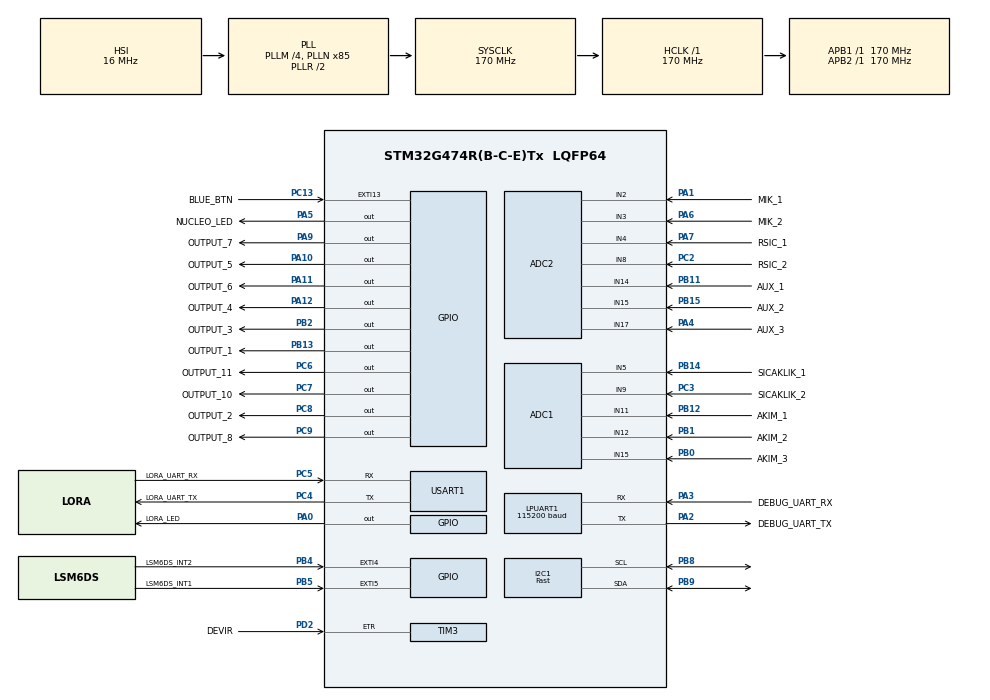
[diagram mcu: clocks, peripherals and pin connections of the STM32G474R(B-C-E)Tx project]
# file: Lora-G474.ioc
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ADC1.Channel-0\#ChannelRegularConversion=ADC_CHANNEL_5
ADC1.Channel-1\#ChannelRegularConversion=ADC_CHANNEL_9
ADC1.Channel-2\#ChannelRegularConversion=ADC_CHANNEL_11
ADC1.Channel-3\#ChannelRegularConversion=ADC_CHANNEL_12
ADC1.Channel-4\#ChannelRegularConversion=ADC_CHANNEL_15
ADC1.ClockPrescaler=ADC_CLOCK_SYNC_PCLK_DIV4
ADC1.DMAContinuousRequests=ENABLE
ADC1.DiscontinuousConvMode=ENABLE
ADC1.ExternalTrigConv=ADC_EXTERNALTRIG_T1_TRGO
ADC1.NbrOfConversion=5
ADC1.NbrOfConversionFlag=1
ADC1.NbrOfDiscConversion=3
ADC1.OffsetNumber-0\#ChannelRegularConversion=ADC_OFFSET_NONE
ADC1.OffsetNumber-1\#ChannelRegularConversion=ADC_OFFSET_NONE
ADC1.OffsetNumber-2\#ChannelRegularConversion=ADC_OFFSET_NONE
ADC1.OffsetNumber-3\#ChannelRegularConversion=ADC_OFFSET_NONE
ADC1.OffsetNumber-4\#ChannelRegularConversion=ADC_OFFSET_NONE
ADC1.OversamplingMode=ENABLE
ADC1.Rank-0\#ChannelRegularConversion=1
ADC1.Rank-1\#ChannelRegularConversion=2
ADC1.Rank-2\#ChannelRegularConversion=3
ADC1.Rank-3\#ChannelRegularConversion=4
ADC1.Rank-4\#ChannelRegularConversion=5
ADC1.Ratio=ADC_OVERSAMPLING_RATIO_8
ADC1.RightBitShift=ADC_RIGHTBITSHIFT_1
ADC1.SamplingTime-0\#ChannelRegularConversion=ADC_SAMPLETIME_47CYCLES_5
ADC1.SamplingTime-1\#ChannelRegularConversion=ADC_SAMPLETIME_47CYCLES_5
ADC1.SamplingTime-2\#ChannelRegularConversion=ADC_SAMPLETIME_47CYCLES_5
ADC1.SamplingTime-3\#ChannelRegularConversion=ADC_SAMPLETIME_47CYCLES_5
ADC1.SamplingTime-4\#ChannelRegularConversion=ADC_SAMPLETIME_47CYCLES_5
ADC1.master=1
ADC2.Channel-0\#ChannelRegularConversion=ADC_CHANNEL_2
ADC2.Channel-1\#ChannelRegularConversion=ADC_CHANNEL_3
ADC2.Channel-2\#ChannelRegularConversion=ADC_CHANNEL_4
ADC2.Channel-3\#ChannelRegularConversion=ADC_CHANNEL_8
ADC2.Channel-4\#ChannelRegularConversion=ADC_CHANNEL_14
ADC2.Channel-5\#ChannelRegularConversion=ADC_CHANNEL_15
ADC2.Channel-6\#ChannelRegularConversion=ADC_CHANNEL_17
ADC2.DMAContinuousRequests=ENABLE
ADC2.DiscontinuousConvMode=ENABLE
ADC2.ExternalTrigConv=ADC_EXTERNALTRIG_T2_TRGO
ADC2.NbrOfConversion=7
ADC2.NbrOfConversionFlag=1
ADC2.NbrOfDiscConversion=3
ADC2.OffsetNumber-0\#ChannelRegularConversion=ADC_OFFSET_NONE
ADC2.OffsetNumber-1\#ChannelRegularConversion=ADC_OFFSET_NONE
ADC2.OffsetNumber-2\#ChannelRegularConversion=ADC_OFFSET_NONE
ADC2.OffsetNumber-3\#ChannelRegularConversion=ADC_OFFSET_NONE
ADC2.OffsetNumber-4\#ChannelRegularConversion=ADC_OFFSET_NONE
ADC2.OffsetNumber-5\#ChannelRegularConversion=ADC_OFFSET_NONE
ADC2.OffsetNumber-6\#ChannelRegularConversion=ADC_OFFSET_NONE
ADC2.OversamplingMode=ENABLE
ADC2.Rank-0\#ChannelRegularConversion=1
ADC2.Rank-1\#ChannelRegularConversion=2
ADC2.Rank-2\#ChannelRegularConversion=3
ADC2.Rank-3\#ChannelRegularConversion=4
ADC2.Rank-4\#ChannelRegularConversion=5
ADC2.Rank-5\#ChannelRegularConversion=6
ADC2.Rank-6\#ChannelRegularConversion=7
ADC2.Ratio=ADC_OVERSAMPLING_RATIO_8
ADC2.RightBitShift=ADC_RIGHTBITSHIFT_1
ADC2.SamplingTime-0\#ChannelRegularConversion=ADC_SAMPLETIME_47CYCLES_5
ADC2.SamplingTime-1\#ChannelRegularConversion=ADC_SAMPLETIME_47CYCLES_5
ADC2.SamplingTime-2\#ChannelRegularConversion=ADC_SAMPLETIME_47CYCLES_5
ADC2.SamplingTime-3\#ChannelRegularConversion=ADC_SAMPLETIME_47CYCLES_5
ADC2.SamplingTime-4\#ChannelRegularConversion=ADC_SAMPLETIME_47CYCLES_5
ADC2.SamplingTime-5\#ChannelRegularConversion=ADC_SAMPLETIME_47CYCLES_5
ADC2.SamplingTime-6\#ChannelRegularConversion=ADC_SAMPLETIME_47CYCLES_5
Dma.ADC1.0.Direction=DMA_PERIPH_TO_MEMORY
Dma.ADC1.0.EventEnable=DISABLE
Dma.ADC1.0.Instance=DMA1_Channel1
Dma.ADC1.0.MemDataAlignment=DMA_MDATAALIGN_HALFWORD
Dma.ADC1.0.MemInc=DMA_MINC_ENABLE
Dma.ADC1.0.Mode=DMA_CIRCULAR
Dma.ADC1.0.PeriphDataAlignment=DMA_PDATAALIGN_HALFWORD
Dma.ADC1.0.PeriphInc=DMA_PINC_DISABLE
Dma.ADC1.0.Polarity=HAL_DMAMUX_REQ_GEN_RISING
Dma.ADC1.0.Priority=DMA_PRIORITY_LOW
Dma.ADC1.0.RequestNumber=1
Dma.ADC1.0.SignalID=NONE
Dma.ADC1.0.SyncEnable=DISABLE
Dma.ADC1.0.SyncPolarity=HAL_DMAMUX_SYNC_NO_EVENT
Dma.ADC1.0.SyncRequestNumber=1
Dma.ADC1.0.SyncSignalID=NONE
Dma.ADC2.1.Direction=DMA_PERIPH_TO_MEMORY
Dma.ADC2.1.EventEnable=DISABLE
Dma.ADC2.1.Instance=DMA1_Channel2
Dma.ADC2.1.MemDataAlignment=DMA_MDATAALIGN_HALFWORD
Dma.ADC2.1.MemInc=DMA_MINC_ENABLE
Dma.ADC2.1.Mode=DMA_CIRCULAR
Dma.ADC2.1.PeriphDataAlignment=DMA_PDATAALIGN_HALFWORD
Dma.ADC2.1.PeriphInc=DMA_PINC_DISABLE
Dma.ADC2.1.Polarity=HAL_DMAMUX_REQ_GEN_RISING
Dma.ADC2.1.Priority=DMA_PRIORITY_LOW
Dma.ADC2.1.RequestNumber=1
Dma.ADC2.1.SignalID=NONE
Dma.ADC2.1.SyncEnable=DISABLE
Dma.ADC2.1.SyncPolarity=HAL_DMAMUX_SYNC_NO_EVENT
Dma.ADC2.1.SyncRequestNumber=1
Dma.ADC2.1.SyncSignalID=NONE
Dma.Request0=ADC1
Dma.Request1=ADC2
I2C1.Analog_Filter=I2C_ANALOGFILTER_DISABLE
I2C1.I2C_Speed_Mode=I2C_Fast
I2C1.Timing=0x108031A0
LPUART1.BaudRate=115200
LPUART1.WordLength=UART_WORDLENGTH_8B
Mcu.Family=STM32G4
Mcu.Name=STM32G474R(B-C-E)Tx
Mcu.Package=LQFP64
NVIC.DMA1_Channel1_IRQn=true\:0\:0\:false\:false\:true\:false\:true
NVIC.DMA1_Channel2_IRQn=true\:0\:0\:false\:false\:true\:false\:true
NVIC.EXTI15_10_IRQn=true\:0\:0\:false\:false\:true\:true\:true
NVIC.EXTI4_IRQn=true\:0\:0\:false\:false\:true\:true\:true
NVIC.EXTI9_5_IRQn=true\:0\:0\:false\:false\:true\:true\:true
NVIC.I2C1_ER_IRQn=true\:0\:0\:false\:false\:true\:true\:true
NVIC.I2C1_EV_IRQn=true\:0\:0\:false\:false\:true\:true\:true
NVIC.PriorityGroup=NVIC_PRIORITYGROUP_4
NVIC.TIM1_CC_IRQn=true\:0\:0\:false\:false\:true\:true\:true
NVIC.TIM1_TRG_COM_TIM17_IRQn=true\:0\:0\:false\:false\:true\:true\:true
NVIC.TIM1_UP_TIM16_IRQn=true\:0\:0\:false\:false\:true\:true\:true
NVIC.TIM2_IRQn=true\:0\:0\:false\:false\:true\:true\:true
NVIC.TIM4_IRQn=true\:0\:0\:false\:false\:true\:true\:true
NVIC.TIM5_IRQn=true\:0\:0\:false\:false\:true\:true\:true
NVIC.TIM6_DAC_IRQn=true\:0\:0\:false\:false\:true\:true\:true
NVIC.TIM7_DAC_IRQn=true\:0\:0\:false\:false\:true\:true\:true
NVIC.USART1_IRQn=true\:0\:0\:false\:false\:true\:true\:true
PA0.GPIO_Label=LORA_LED
PA0.Signal=GPIO_Output
PA1.GPIO_Label=MIK_1
PA1.Mode=IN2-Single-Ended
PA1.Signal=ADC2_IN2
PA10.GPIO_Label=OUTPUT_5
PA10.Signal=GPIO_Output
PA11.GPIO_Label=OUTPUT_6
PA11.Signal=GPIO_Output
PA12.GPIO_Label=OUTPUT_4
PA12.Signal=GPIO_Output
PA13.GPIO_Label=T_SWDIO
PA13.Mode=Serial_Wire
PA13.Signal=SYS_JTMS-SWDIO
PA14.GPIO_Label=T_SWCLK
PA14.Mode=Serial_Wire
PA14.Signal=SYS_JTCK-SWCLK
PA2.GPIO_Label=DEBUG_UART_TX
PA2.Mode=Asynchronous
PA2.Signal=LPUART1_TX
PA3.GPIO_Label=DEBUG_UART_RX
PA3.Mode=Asynchronous
PA3.Signal=LPUART1_RX
PA4.GPIO_Label=AUX_3
PA4.Mode=IN17-Single-Ended
PA4.Signal=ADC2_IN17
PA5.GPIO_Label=NUCLEO_LED
PA5.Signal=GPIO_Output
PA6.GPIO_Label=MIK_2
PA6.Mode=IN3-Single-Ended
PA6.Signal=ADC2_IN3
PA7.GPIO_Label=RSIC_1
PA7.Mode=IN4-Single-Ended
PA7.Signal=ADC2_IN4
PA9.GPIO_Label=OUTPUT_7
PA9.Signal=GPIO_Output
PB0.GPIO_Label=AKIM_3
PB0.Mode=IN15-Single-Ended
PB0.Signal=ADC1_IN15
PB1.GPIO_Label=AKIM_2
PB1.Mode=IN12-Single-Ended
PB1.Signal=ADC1_IN12
PB11.GPIO_Label=AUX_1
PB11.Mode=IN14-Single-Ended
PB11.Signal=ADC2_IN14
PB12.GPIO_Label=AKIM_1
PB12.Mode=IN11-Single-Ended
PB12.Signal=ADC1_IN11
PB13.GPIO_Label=OUTPUT_1
PB13.Signal=GPIO_Output
PB14.GPIO_Label=SICAKLIK_1
PB14.Mode=IN5-Single-Ended
PB14.Signal=ADC1_IN5
PB15.GPIO_Label=AUX_2
PB15.Mode=IN15-Single-Ended
PB15.Signal=ADC2_IN15
PB2.GPIO_Label=OUTPUT_3
PB2.Signal=GPIO_Output
PB3.GPIO_Label=T_SWO
PB3.Signal=SYS_JTDO-SWO
PB4.GPIO_Label=LSM6DS_INT2
PB4.Signal=GPXTI4
PB5.GPIO_Label=LSM6DS_INT1
PB5.Signal=GPXTI5
PB8-BOOT0.GPIO_FM8=SYSCFG_FASTMODEPLUS_PB8
PB8-BOOT0.Mode=I2C
PB8-BOOT0.Signal=I2C1_SCL
PB9.GPIO_FM9=SYSCFG_FASTMODEPLUS_PB9
PB9.Mode=I2C
PB9.Signal=I2C1_SDA
PC13.GPIO_Label=BLUE_BTN
PC13.Signal=GPXTI13
PC14-OSC32_IN.Mode=LSE-External-Oscillator
PC14-OSC32_IN.Signal=RCC_OSC32_IN
PC15-OSC32_OUT.Mode=LSE-External-Oscillator
PC15-OSC32_OUT.Signal=RCC_OSC32_OUT
PC2.GPIO_Label=RSIC_2
PC2.Mode=IN8-Single-Ended
PC2.Signal=ADC2_IN8
PC3.GPIO_Label=SICAKLIK_2
PC3.Mode=IN9-Single-Ended
PC3.Signal=ADC1_IN9
PC4.GPIO_Label=LORA_UART_TX
PC4.Mode=Asynchronous
PC4.Signal=USART1_TX
PC5.GPIO_Label=LORA_UART_RX
PC5.Mode=Asynchronous
PC5.Signal=USART1_RX
PC6.GPIO_Label=OUTPUT_11
PC6.Signal=GPIO_Output
PC7.GPIO_Label=OUTPUT_10
PC7.Signal=GPIO_Output
PC8.GPIO_Label=OUTPUT_2
PC8.Signal=GPIO_Output
PC9.GPIO_Label=OUTPUT_8
PC9.Signal=GPIO_Output
PD2.GPIO_Label=DEVIR
PD2.Signal=S_TIM3_ETR
PF0-OSC_IN.Mode=HSE-External-Oscillator
PF0-OSC_IN.Signal=RCC_OSC_IN
PF1-OSC_OUT.Mode=HSE-External-Oscillator
PF1-OSC_OUT.Signal=RCC_OSC_OUT
ProjectManager.HeapSize=0x200
ProjectManager.StackSize=0x400
ProjectManager.TargetToolchain=STM32CubeIDE
RCC.ADC12Freq_Value=170000000
RCC.ADC345Freq_Value=170000000
RCC.AHBFreq_Value=170000000
RCC.APB1Freq_Value=170000000
RCC.APB1TimFreq_Value=170000000
RCC.APB2Freq_Value=170000000
RCC.APB2TimFreq_Value=170000000
RCC.CortexFreq_Value=170000000
RCC.EXTERNAL_CLOCK_VALUE=12288000
RCC.HCLKFreq_Value=170000000
RCC.HSE_VALUE=24000000
RCC.HSI48_VALUE=48000000
RCC.HSI_VALUE=16000000
RCC.PLLM=RCC_PLLM_DIV4
RCC.PLLN=85
RCC.RTCClockSelection=RCC_RTCCLKSOURCE_LSE
RCC.SYSCLKFreq_VALUE=170000000
RCC.SYSCLKSource=RCC_SYSCLKSOURCE_PLLCLK
RCC.USBFreq_Value=170000000
RCC.VCOOutputFreq_Value=340000000
SH.S_TIM3_ETR.0=TIM3_ETR,ClockSourceETR_Mode2
TIM1.Channel-Output\ Compare1\ No\ Output=TIM_CHANNEL_1
TIM1.PeriodNoDither=14999
TIM1.Prescaler=33999
TIM1.TIM_MasterOutputTrigger=TIM_TRGO_UPDATE
TIM16.PeriodNoDither=24999
TIM16.Prescaler=33999
TIM17.PeriodNoDither=49999
TIM17.Prescaler=50999
TIM2.Channel-Output\ Compare1\ No\ Output=TIM_CHANNEL_1
TIM2.PeriodNoDither=14999
TIM2.Prescaler=33999
TIM2.TIM_MasterOutputTrigger=TIM_TRGO_UPDATE
TIM4.PeriodNoDither=4999
TIM4.Prescaler=33999
TIM6.PeriodNoDither=59999
TIM6.Prescaler=50999
TIM7.PeriodNoDither=4999
TIM7.Prescaler=33999
TIM7.TIM_MasterOutputTrigger=TIM_TRGO_UPDATE
USART1.VirtualMode-Asynchronous=VM_ASYNC
VP_SYS_VS_DBSignals.Mode=DisableDeadBatterySignals
VP_TIM16_VS_ClockSourceINT.Mode=Enable_Timer
VP_TIM17_VS_ClockSourceINT.Mode=Enable_Timer
VP_TIM1_VS_ClockSourceINT.Mode=Internal
VP_TIM1_VS_no_output1.Mode=Output Compare1 No Output
VP_TIM2_VS_ClockSourceINT.Mode=Internal
VP_TIM2_VS_no_output1.Mode=Output Compare1 No Output
VP_TIM4_VS_ClockSourceINT.Mode=Internal
VP_TIM5_VS_ClockSourceINT.Mode=Internal
VP_TIM6_VS_ClockSourceINT.Mode=Enable_Timer
VP_TIM7_VS_ClockSourceINT.Mode=Enable_Timer
board=NUCLEO-G474RE

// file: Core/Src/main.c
/* USER CODE BEGIN Header */
/**
  ******************************************************************************
  * @file           : main.c
  * @brief          : Main program body
  ******************************************************************************
  * @attention
  *
  * <h2><center>&copy; Copyright (c) 2020 STMicroelectronics.
  * All rights reserved.</center></h2>
  *
  * This software component is licensed by ST under BSD 3-Clause license,
  * the "License"; You may not use this file except in compliance with the
  * License. You may obtain a copy of the License at:
  *                        opensource.org/licenses/BSD-3-Clause
  *
  ******************************************************************************
  */
/* USER CODE END Header */
#include <accelerator.h>
#include "main.h"
#include "adc.h"
#include "dma.h"
#include "i2c.h"
#include "usart.h"
#include "tim.h"
#include "gpio.h"

/* USER CODE BEGIN Includes */
#include <stdio.h>
#include "retarget.h"
#include "MotionSP.h"
#include "lora_driver.h"
/* USER CODE END Includes */

/* USER CODE BEGIN PD */
#define LPP_DATATYPE_HUMIDITY 0x68
#define LPP_DATATYPE_TEMPERATURE 0x67
#define LPP_DATATYPE_BAROMETER 0x73
#define LPP_DATATYPE_ADC 0x74
#define LPP_DATATYPE_PULSE 0x75

#define ENABLE_LORA
//#define ENABLE_SENSOR

#ifdef ENABLE_LORA
#define LORAWAN_APP_PORT           99;            /*LoRaWAN application port*/
#define LORAWAN_CONFIRMED_MSG      ENABLE         /*LoRaWAN confirmed messages*/
#define JOIN_MODE                  OTAA_JOIN_MODE   /*ABP_JOIN_MODE */ /*LoRaWan join methode*/
#endif

#define PULSE_COUNTER_COUNT 		1
#define PULSE_COEF                  4
#define PULSE_MINUTE                60
/* USER CODE END PD */

/* USER CODE BEGIN PV */

uint16_t pulse[PULSE_COUNTER_COUNT];
uint16_t calibrated_pulse[PULSE_COUNTER_COUNT];

TIM_HandleTypeDef *hAccellCycleTimer; //200ms

TIM_HandleTypeDef *hPulseCycleTimer; //1s
TIM_HandleTypeDef *hPulseCounter[PULSE_COUNTER_COUNT];
TIM_HandleTypeDef *hCollectCycleTimer; //5s

#ifdef ENABLE_LORA
static LoRaDriverParam_t LoRaDriverParam = {0, JOIN_MODE};
#endif
/* USER CODE END PV */

void SystemClock_Config(void);
/* USER CODE BEGIN PFP */

#ifdef ENABLE_LORA
static void PrepareSensorData(sSendDataBinary_t *SendDataBinary);
static LoRaDriverCallback_t LoRaDriverCallbacks = { PrepareSensorData, NULL };
#endif
/* USER CODE END PFP */

/* USER CODE BEGIN 0 */
#define min(a,b) (a) < (b) ? (a) : (b)
#define max(a,b) (a) > (b) ? (a) : (b)
#define abs(a) ((a) > 0 ? (a) : -(a))
/* USER CODE END 0 */

int main(void)
{

  /* MCU Configuration--------------------------------------------------------*/

  /* Reset of all peripherals, Initializes the Flash interface and the Systick. */
  HAL_Init();

  /* Configure the system clock */
  SystemClock_Config();

  /* Initialize all configured peripherals */
  MX_GPIO_Init();
  MX_DMA_Init();
  MX_LPUART1_UART_Init();
  MX_ADC2_Init();
  MX_ADC1_Init();
  MX_TIM3_Init();
  MX_USART1_UART_Init();
  MX_I2C1_Init();
  MX_TIM1_Init();
  MX_TIM2_Init();
  MX_TIM4_Init();
  MX_TIM5_Init();
  MX_TIM6_Init();
  MX_TIM7_Init();
  MX_TIM16_Init();
  MX_TIM17_Init();
  /* USER CODE BEGIN 2 */

  RetargetInit(&hlpuart1);

  hmodem_uart = &huart1;

  hAccellCycleTimer = &htim4; //200ms
  hSendCycleTimer = &htim17; //15s
  hPulseCycleTimer = &htim7; //1s
  hPulseCounter[0] = &htim3;
  hCollectCycleTimer = &htim16; //5s
  hProtectCycleTimer = &htim6; //18s
  hADC1Timer = &htim1;
  hADC2Timer = &htim2;

  /* Context Initialization following the LoRa device modem Used*/
#ifdef ENABLE_LORA
  Lora_Ctx_Init(&LoRaDriverCallbacks, &LoRaDriverParam);
#endif

  BSP_PB_Init(BUTTON_USER, BUTTON_MODE_EXTI);

#ifdef ENABLE_SENSOR

  if (Init_Accelerator() != 0)
  {
	  printf("Can not init Accelerator! \r\n");

  } else {

	  printf("Accelerator is initialized! \r\n");
  }
#endif

  if (AnalogDevicesInit() != TRUE) {
	  printf("ADCs can not initialized! \r\n");

  } else {
	  printf("ADCs initialized! \r\n");
  }

  //TIMERS
  start_timer(hPulseCycleTimer);
  start_timer(hCollectCycleTimer);
  start_timer(hAccellCycleTimer);

  /* USER CODE END 2 */

  /* Infinite loop */
  /* USER CODE BEGIN WHILE */

  printf("Starting \r\n");

  while (1)
  {
    /* USER CODE END WHILE */

    /* USER CODE BEGIN 3 */

#ifdef ENABLE_LORA
    Lora_fsm();
#endif

#ifdef ENABLE_SENSOR
/* Data processing started */
    if (Collect_Accelerator_Data() != TRUE)
    {
    	printf("Can not process accelerator data! \r\n");
    }
#endif
  /* USER CODE END 3 */
  }
}

void SystemClock_Config(void)
{
  RCC_OscInitTypeDef RCC_OscInitStruct = {0};
  RCC_ClkInitTypeDef RCC_ClkInitStruct = {0};
  RCC_PeriphCLKInitTypeDef PeriphClkInit = {0};

  /** Configure the main internal regulator output voltage
  */
  HAL_PWREx_ControlVoltageScaling(PWR_REGULATOR_VOLTAGE_SCALE1_BOOST);
  /** Initializes the RCC Oscillators according to the specified parameters
  * in the RCC_OscInitTypeDef structure.
  */
  RCC_OscInitStruct.OscillatorType = RCC_OSCILLATORTYPE_HSI;
  RCC_OscInitStruct.HSIState = RCC_HSI_ON;
  RCC_OscInitStruct.HSICalibrationValue = RCC_HSICALIBRATION_DEFAULT;
  RCC_OscInitStruct.PLL.PLLState = RCC_PLL_ON;
  RCC_OscInitStruct.PLL.PLLSource = RCC_PLLSOURCE_HSI;
  RCC_OscInitStruct.PLL.PLLM = RCC_PLLM_DIV4;
  RCC_OscInitStruct.PLL.PLLN = 85;
  RCC_OscInitStruct.PLL.PLLP = RCC_PLLP_DIV2;
  RCC_OscInitStruct.PLL.PLLQ = RCC_PLLQ_DIV2;
  RCC_OscInitStruct.PLL.PLLR = RCC_PLLR_DIV2;
  if (HAL_RCC_OscConfig(&RCC_OscInitStruct) != HAL_OK)
  {
    Error_Handler();
  }
  /** Initializes the CPU, AHB and APB buses clocks
  */
  RCC_ClkInitStruct.ClockType = RCC_CLOCKTYPE_HCLK|RCC_CLOCKTYPE_SYSCLK
                              |RCC_CLOCKTYPE_PCLK1|RCC_CLOCKTYPE_PCLK2;
  RCC_ClkInitStruct.SYSCLKSource = RCC_SYSCLKSOURCE_PLLCLK;
  RCC_ClkInitStruct.AHBCLKDivider = RCC_SYSCLK_DIV1;
  RCC_ClkInitStruct.APB1CLKDivider = RCC_HCLK_DIV1;
  RCC_ClkInitStruct.APB2CLKDivider = RCC_HCLK_DIV1;

  if (HAL_RCC_ClockConfig(&RCC_ClkInitStruct, FLASH_LATENCY_4) != HAL_OK)
  {
    Error_Handler();
  }
  /** Initializes the peripherals clocks
  */
  PeriphClkInit.PeriphClockSelection = RCC_PERIPHCLK_USART1|RCC_PERIPHCLK_LPUART1
                              |RCC_PERIPHCLK_I2C1|RCC_PERIPHCLK_ADC12;
  PeriphClkInit.Usart1ClockSelection = RCC_USART1CLKSOURCE_PCLK2;
  PeriphClkInit.Lpuart1ClockSelection = RCC_LPUART1CLKSOURCE_PCLK1;
  PeriphClkInit.I2c1ClockSelection = RCC_I2C1CLKSOURCE_PCLK1;
  PeriphClkInit.Adc12ClockSelection = RCC_ADC12CLKSOURCE_SYSCLK;
  if (HAL_RCCEx_PeriphCLKConfig(&PeriphClkInit) != HAL_OK)
  {
    Error_Handler();
  }
}

/* USER CODE BEGIN 4 */

void HAL_TIM_PeriodElapsedCallback(TIM_HandleTypeDef *htim)
{
	if (htim == hAccellCycleTimer) {

//		if (CollectAcceleratorData() != TRUE) {
//			printf("Can not get Accelerator data! \r\n");
//
//		} else {
//			printf("Collected Accelerator data :  x = %d, y = %d, z = %d \r\n",
//					accelero[0], accelero[1], accelero[2]);
//		}
		return;
	}

	if (htim == hPulseCycleTimer) {

		for (int i = 0; i < PULSE_COUNTER_COUNT; i++) {
			HAL_TIM_Base_Stop(hPulseCounter[i]);
			pulse[i] = __HAL_TIM_GetCounter(hPulseCounter[i]);
			HAL_TIM_GenerateEvent(hPulseCounter[i], TIM_EVENTSOURCE_UPDATE);
			HAL_TIM_Base_Start(hPulseCounter[i]);
			//calibrated_pulse[i] = pulse[i] * (PULSE_MINUTE / PULSE_COEF);
			calibrated_pulse[i] = 0x1250;
		}

		return;
	}

	if (htim == hCollectCycleTimer) {

/*
		if (CollectSensorData() != COMPONENT_OK) {
			printf("Can not get sensor data! \r\n");

		} else {
			printf("Collected sensor data :  temperature = %d, pressure = %d, humidity = %d \r\n",
					temperature, pressure, humidity);
		}
*/

		if (CollectAnalogData() != TRUE) {
			printf("Can not get analog data! \r\n");

		} else {

			printf("Collected analog data :  adc1[0] = %d, adc1[1] = %d, adc2[0] = %d \r\n",
			processed_adc1[0], processed_adc1[1], processed_adc2[0] );
		}

		return;
	}

	if (htim == hSendCycleTimer) {
#ifdef ENABLE_LORA
		Lora_OnNextSensorMeasureTimerEvt(NULL);
#endif
		return;
	}

	if (htim == hProtectCycleTimer) {
#ifdef ENABLE_LORA
	//	Lora_OnJoinProtectTimerEvt(NULL); //disabled for now, should be reenabled later
#endif
	}
}

#ifdef ENABLE_LORA
static void PrepareSensorData(sSendDataBinary_t *SendDataBinary)
{
	int index = 0;

//	SendDataBinary->Buffer[index++] = cchannel++;
/*	SendDataBinary->Buffer[index++] = LPP_DATATYPE_BAROMETER;
	SendDataBinary->Buffer[index++] = (pressure >> 8) & 0xFF;
	SendDataBinary->Buffer[index++] = pressure & 0xFF;
	SendDataBinary->Buffer[index++] = cchannel++;
	SendDataBinary->Buffer[index++] = LPP_DATATYPE_TEMPERATURE;
	SendDataBinary->Buffer[index++] = (temperature >> 8) & 0xFF;
	SendDataBinary->Buffer[index++] = temperature & 0xFF;
	SendDataBinary->Buffer[index++] = cchannel++;
	SendDataBinary->Buffer[index++] = LPP_DATATYPE_HUMIDITY;
	SendDataBinary->Buffer[index++] = humidity & 0xFF;
*/
	SendDataBinary->Buffer[index++] = LPP_DATATYPE_ADC;
	SendDataBinary->Buffer[index++] = (calibrated_adc1[0] >> 8) & 0xFF;
	SendDataBinary->Buffer[index++] = calibrated_adc1[0] & 0xFF;
	SendDataBinary->Buffer[index++] = (calibrated_adc1[1] >> 8) & 0xFF;
	SendDataBinary->Buffer[index++] = calibrated_adc1[1] & 0xFF;
	SendDataBinary->Buffer[index++] = (calibrated_adc1[2] >> 8) & 0xFF;
	SendDataBinary->Buffer[index++] = calibrated_adc1[2] & 0xFF;
	SendDataBinary->Buffer[index++] = (calibrated_adc1[3] >> 8) & 0xFF;
	SendDataBinary->Buffer[index++] = calibrated_adc1[3] & 0xFF;
	SendDataBinary->Buffer[index++] = (calibrated_adc1[4] >> 8) & 0xFF;
	SendDataBinary->Buffer[index++] = calibrated_adc1[4] & 0xFF;
	SendDataBinary->Buffer[index++] = (calibrated_adc1[5] >> 8) & 0xFF;
	SendDataBinary->Buffer[index++] = calibrated_adc1[5] & 0xFF;
	SendDataBinary->Buffer[index++] = (calibrated_adc2[0] >> 8) & 0xFF;
	SendDataBinary->Buffer[index++] = calibrated_adc2[0] & 0xFF;
	SendDataBinary->Buffer[index++] = (calibrated_adc2[1] >> 8) & 0xFF;
	SendDataBinary->Buffer[index++] = calibrated_adc2[1] & 0xFF;
	SendDataBinary->Buffer[index++] = (calibrated_adc2[2] >> 8) & 0xFF;
	SendDataBinary->Buffer[index++] = calibrated_adc2[2] & 0xFF;
	SendDataBinary->Buffer[index++] = (calibrated_adc2[3] >> 8) & 0xFF;
	SendDataBinary->Buffer[index++] = calibrated_adc2[3] & 0xFF;
	SendDataBinary->Buffer[index++] = (calibrated_adc2[4] >> 8) & 0xFF;
	SendDataBinary->Buffer[index++] = calibrated_adc2[4] & 0xFF;
	SendDataBinary->Buffer[index++] = (calibrated_adc2[5] >> 8) & 0xFF;
	SendDataBinary->Buffer[index++] = calibrated_adc2[5] & 0xFF;
	SendDataBinary->Buffer[index++] = (calibrated_adc2[6] >> 8) & 0xFF;
	SendDataBinary->Buffer[index++] = calibrated_adc2[6] & 0xFF;

	SendDataBinary->Buffer[index++] = LPP_DATATYPE_PULSE;
	SendDataBinary->Buffer[index++] = (calibrated_pulse[0] >> 8) & 0xFF;
	SendDataBinary->Buffer[index++] = calibrated_pulse[0] & 0xFF;

	SendDataBinary->DataSize = index;
	SendDataBinary->Port = LORAWAN_APP_PORT;
	SendDataBinary->Ack = !LORAWAN_CONFIRMED_MSG;
}
#endif

#if 0
/**
  * @brief  Get message
  * @param  Msg the pointer to the message to be handled
  * @param  AxisActive currently active axis index
  * @retval None
  */
void Get_Msg(TMsg *Msg, ACTIVE_AXIS_t AxisActive)
{
  uint32_t k = 0;
  float err = -1.0f;
  float temp;

  memcpy(&Msg->Data[3], (void *) &AcceleroODR.Frequency, sizeof(float));
  Msg->Len = 3 + sizeof(float);

  /* Store FFT values to Msg */
  /* Store TimeDomain parameter values to Msg */
  switch (AxisActive)
  {
    case X_AXIS:
      for (k = 0; k < MotionSP_Parameters.FftSize / 2; k++)
      {
        temp = AccAxesAvgMagBuff.AXIS_X[k] * 1000; // * 1000 for Unicleo-GUI
        memcpy(&Msg->Data[Msg->Len + k * sizeof(float)], (void *) &temp, sizeof(float));
      }
      memcpy(&Msg->Data[Msg->Len + k++ * sizeof(float)], (void *) &sTimeDomain.AccRms.AXIS_X, sizeof(float));
      memcpy(&Msg->Data[Msg->Len + k++ * sizeof(float)], (void *) &sTimeDomain.AccPeak.AXIS_X, sizeof(float));
      memcpy(&Msg->Data[Msg->Len + k++ * sizeof(float)], (void *) &sTimeDomain.SpeedRms.AXIS_X, sizeof(float));
      break;

    case Y_AXIS:
      for (k = 0; k < MotionSP_Parameters.FftSize / 2; k++)
      {
        temp = AccAxesAvgMagBuff.AXIS_Y[k] * 1000; // * 1000 for Unicleo-GUI
        memcpy(&Msg->Data[Msg->Len + k * sizeof(float)], (void *) &temp, sizeof(float));
      }
      memcpy(&Msg->Data[Msg->Len + k++ * sizeof(float)], (void *) &sTimeDomain.AccRms.AXIS_Y, sizeof(float));
      memcpy(&Msg->Data[Msg->Len + k++ * sizeof(float)], (void *) &sTimeDomain.AccPeak.AXIS_Y, sizeof(float));
      memcpy(&Msg->Data[Msg->Len + k++ * sizeof(float)], (void *) &sTimeDomain.SpeedRms.AXIS_Y, sizeof(float));
      break;

    case Z_AXIS:
      for (k = 0; k < MotionSP_Parameters.FftSize / 2; k++)
      {
        temp = AccAxesAvgMagBuff.AXIS_Z[k] * 1000; // * 1000 for Unicleo-GUI
        memcpy(&Msg->Data[Msg->Len + k * sizeof(float)], (void *) &temp, sizeof(float));
      }
      memcpy(&Msg->Data[Msg->Len + k++ * sizeof(float)], (void *) &sTimeDomain.AccRms.AXIS_Z, sizeof(float));
      memcpy(&Msg->Data[Msg->Len + k++ * sizeof(float)], (void *) &sTimeDomain.AccPeak.AXIS_Z, sizeof(float));
      memcpy(&Msg->Data[Msg->Len + k++ * sizeof(float)], (void *) &sTimeDomain.SpeedRms.AXIS_Z, sizeof(float));
      break;

    default:
      /* Store -1 to Msg to indicate error */
      memcpy(&Msg->Data[Msg->Len + k++ * sizeof(float)], (void *) &err, sizeof(float));
      memcpy(&Msg->Data[Msg->Len + k++ * sizeof(float)], (void *) &err, sizeof(float));
      memcpy(&Msg->Data[Msg->Len + k++ * sizeof(float)], (void *) &err, sizeof(float));
      break;
  }
  Msg->Len += k * sizeof(float);

  /* Store active axis index to Msg */
  Msg->Data[Msg->Len] = (uint8_t)AxisActive;
  Msg->Len += sizeof(uint8_t);
}
#endif

/* USER CODE END 4 */

void Error_Handler(void)
{
  __disable_irq();
  while (1)
  {
  }
}

/************************ (C) COPYRIGHT STMicroelectronics *****END OF FILE****/
